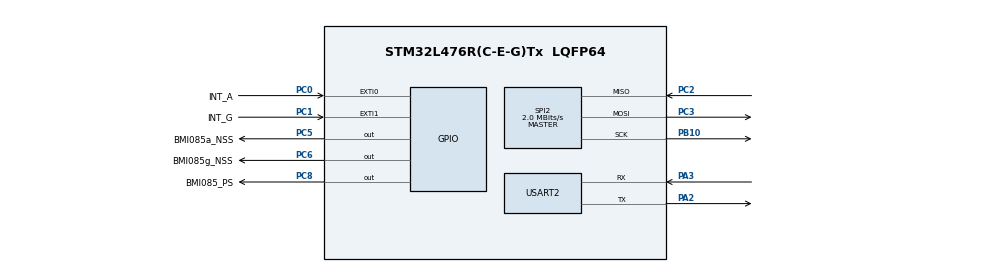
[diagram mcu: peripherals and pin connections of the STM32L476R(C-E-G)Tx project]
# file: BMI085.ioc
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Dma.Request0=SPI2_RX
Dma.Request1=SPI2_TX
Dma.SPI2_RX.0.Direction=DMA_PERIPH_TO_MEMORY
Dma.SPI2_RX.0.Instance=DMA1_Channel4
Dma.SPI2_RX.0.MemDataAlignment=DMA_MDATAALIGN_BYTE
Dma.SPI2_RX.0.MemInc=DMA_MINC_ENABLE
Dma.SPI2_RX.0.Mode=DMA_NORMAL
Dma.SPI2_RX.0.PeriphDataAlignment=DMA_PDATAALIGN_BYTE
Dma.SPI2_RX.0.PeriphInc=DMA_PINC_DISABLE
Dma.SPI2_RX.0.Priority=DMA_PRIORITY_LOW
Dma.SPI2_TX.1.Direction=DMA_MEMORY_TO_PERIPH
Dma.SPI2_TX.1.Instance=DMA1_Channel5
Dma.SPI2_TX.1.MemDataAlignment=DMA_MDATAALIGN_BYTE
Dma.SPI2_TX.1.MemInc=DMA_MINC_ENABLE
Dma.SPI2_TX.1.Mode=DMA_NORMAL
Dma.SPI2_TX.1.PeriphDataAlignment=DMA_PDATAALIGN_BYTE
Dma.SPI2_TX.1.PeriphInc=DMA_PINC_DISABLE
Dma.SPI2_TX.1.Priority=DMA_PRIORITY_LOW
Mcu.Family=STM32L4
Mcu.Name=STM32L476R(C-E-G)Tx
Mcu.Package=LQFP64
NVIC.DMA1_Channel4_IRQn=true\:0\:0\:false\:false\:true\:false\:true\:true
NVIC.DMA1_Channel5_IRQn=true\:0\:0\:false\:false\:true\:false\:true\:true
NVIC.EXTI0_IRQn=true\:0\:0\:false\:false\:true\:true\:true\:true
NVIC.EXTI1_IRQn=true\:0\:0\:false\:false\:true\:true\:true\:true
NVIC.PriorityGroup=NVIC_PRIORITYGROUP_4
PA2.Mode=Asynchronous
PA2.Signal=USART2_TX
PA3.Mode=Asynchronous
PA3.Signal=USART2_RX
PB10.Mode=Full_Duplex_Master
PB10.Signal=SPI2_SCK
PC0.GPIO_Label=INT_A
PC0.GPIO_ModeDefaultEXTI=GPIO_MODE_IT_FALLING
PC0.Signal=GPXTI0
PC1.GPIO_Label=INT_G
PC1.GPIO_ModeDefaultEXTI=GPIO_MODE_IT_FALLING
PC1.Signal=GPXTI1
PC2.Mode=Full_Duplex_Master
PC2.Signal=SPI2_MISO
PC3.Mode=Full_Duplex_Master
PC3.Signal=SPI2_MOSI
PC5.GPIO_Label=BMI085a_NSS
PC5.PinState=GPIO_PIN_SET
PC5.Signal=GPIO_Output
PC6.GPIO_Label=BMI085g_NSS
PC6.PinState=GPIO_PIN_SET
PC6.Signal=GPIO_Output
PC8.GPIO_Label=BMI085_PS
PC8.PinState=GPIO_PIN_SET
PC8.Signal=GPIO_Output
ProjectManager.HeapSize=0x200
ProjectManager.StackSize=0x400
ProjectManager.TargetToolchain=STM32CubeIDE
RCC.HSE_VALUE=8000000
RCC.HSI_VALUE=16000000
RCC.LSE_VALUE=32768
RCC.MSI_VALUE=4000000
RCC.VCOOutputFreq_Value=32000000
SPI2.BaudRatePrescaler=SPI_BAUDRATEPRESCALER_2
SPI2.CalculateBaudRate=2.0 MBits/s
SPI2.DataSize=SPI_DATASIZE_8BIT
SPI2.Direction=SPI_DIRECTION_2LINES
SPI2.Mode=SPI_MODE_MASTER
SPI2.VirtualType=VM_MASTER
TIM2.Period=0xffffffff-1
TIM2.Prescaler=4-1
USART2.VirtualMode-Asynchronous=VM_ASYNC
VP_TIM2_VS_ClockSourceINT.Mode=Internal
board=custom

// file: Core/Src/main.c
/* USER CODE BEGIN Header */
/**
 ******************************************************************************
 * @file           : main.c
 * @brief          : Main program body
 ******************************************************************************
 * @attention
 *
 * Copyright (c) 2022 STMicroelectronics.
 * All rights reserved.
 *
 * This software is licensed under terms that can be found in the LICENSE file
 * in the root directory of this software component.
 * If no LICENSE file comes with this software, it is provided AS-IS.
 *
 ******************************************************************************
 */
/* USER CODE END Header */
#include "main.h"

/* USER CODE BEGIN Includes */
#include <stdio.h>
#include <stdint.h>
#include <stdlib.h>
#include "bmi08x_defs.h"
#include "bmi08x.h"
/* USER CODE END Includes */

/* USER CODE BEGIN PM */

/******************************************************************************/
/*!                       Macro definitions                                   */

#define BMI08X_READ_WRITE_LEN  UINT8_C(46)

/*! BMI085 shuttle id */
#define BMI085_SHUTTLE_ID      UINT16_C(0x46)

/*! BMI088 shuttle id */
#define BMI088_SHUTTLE_ID      UINT16_C(0x66)

/*! Earth's gravity in m/s^2 */
#define GRAVITY_EARTH  (9.80665f)

#define DPS_TO_RPS		(0.01745329251f)
/* USER CODE END PM */

SPI_HandleTypeDef hspi2;
DMA_HandleTypeDef hdma_spi2_rx;
DMA_HandleTypeDef hdma_spi2_tx;

TIM_HandleTypeDef htim2;

UART_HandleTypeDef huart2;

/* USER CODE BEGIN PV */

volatile uint8_t rx_rdy = 1;
volatile uint8_t tx_rdy = 1;

volatile uint8_t accel_rdy = 0;
volatile uint8_t gyro_rdy = 0;

uint8_t * current_reg_data_ptr;
uint32_t current__len = 0;
uint16_t dev_addr;

uint8_t error_status = 0;
/*! @brief This structure containing relevant bmi08x info */
struct bmi08x_dev bmi08xdev;

/*! bmi08x int config */
struct bmi08x_int_cfg int_config;

/*Data Sync configuration object*/
struct bmi08x_data_sync_cfg sync_cfg;

/*! bmi08x accel int config */
struct bmi08x_accel_int_channel_cfg accel_int_config;

/*! bmi08x gyro int config */
struct bmi08x_gyro_int_channel_cfg gyro_int_config;

/*! @brief variable to hold the bmi08x accel data */
struct bmi08x_sensor_data bmi08x_accel;

/*! @brief variable to hold the bmi08x gyro data */
struct bmi08x_sensor_data bmi08x_gyro;

///*! Variable that holds the I2C device address or SPI chip selection for accel */
uint16_t acc_dev_add;
//
///*! Variable that holds the I2C device address or SPI chip selection for gyro */
uint16_t gyro_dev_add;

/* USER CODE END PV */

void SystemClock_Config(void);
static void MX_GPIO_Init(void);
static void MX_DMA_Init(void);
static void MX_SPI2_Init(void);
static void MX_TIM2_Init(void);
static void MX_USART2_UART_Init(void);
/* USER CODE BEGIN PFP */

/*!
 *  @brief Function for reading the sensor's registers through SPI bus.
 *
 *  @param[in] reg_addr     : Register address.
 *  @param[out] reg_data    : Pointer to the data buffer to store the read data.
 *  @param[in] length       : No of bytes to read.
 *  @param[in] intf_ptr     : Interface pointer
 *
 *  @return Status of execution
 *  @retval = BMI08X_INTF_RET_SUCCESS -> Success
 *  @retval != BMI08X_INTF_RET_SUCCESS  -> Failure Info
 *
 */
BMI08X_INTF_RET_TYPE bmi08x_spi_read(uint8_t reg_addr, uint8_t *reg_data,
		uint32_t len, void *intf_ptr);

/*!
 *  @brief Function for writing the sensor's registers through SPI bus.
 *
 *  @param[in] reg_addr     : Register address.
 *  @param[in] reg_data     : Pointer to the data buffer whose data has to be written.
 *  @param[in] length       : No of bytes to write.
 *  @param[in] intf_ptr     : Interface pointer
 *
 *  @return Status of execution
 *  @retval = BMI08X_INTF_RET_SUCCESS -> Success
 *  @retval != BMI08X_INTF_RET_SUCCESS  -> Failure Info
 *
 */
BMI08X_INTF_RET_TYPE bmi08x_spi_write(uint8_t reg_addr, const uint8_t *reg_data,
		uint32_t len, void *intf_ptr);

/*!
 * @brief This function provides the delay for required time (Microsecond) as per the input provided in some of the
 * APIs.
 *
 *  @param[in] period_us    : The required wait time in microsecond.
 *  @param[in] intf_ptr     : Interface pointer
 *
 *  @return void.
 *
 */
void bmi08x_delay_us(uint32_t period, void *intf_ptr);

/*!
 *  @brief Function to select the interface between SPI and I2C.
 *
 *  @param[in] bma      : Structure instance of bmi08x_dev
 *  @param[in] intf     : Interface selection parameter
 *                          For I2C : BMI08X_I2C_INTF
 *                          For SPI : BMI08X_SPI_INTF
 *  @param[in] variant  : Sensor variant parameter
 *                          For BMI085 : BMI085_VARIANT
 *                          For BMI088 : BMI088_VARIANT
 *
 *  @return Status of execution
 *  @retval 0 -> Success
 *  @retval < 0 -> Failure Info
 */
int8_t bmi08x_interface_init(struct bmi08x_dev *bma, uint8_t intf,
		uint8_t variant);

/*!
 *  @brief Prints the execution status of the APIs.
 *
 *  @param[in] api_name : Name of the API whose execution status has to be printed.
 *  @param[in] rslt     : Error code returned by the API whose execution status has to be printed.
 *
 *  @return void.
 */
void bmi08x_error_codes_print_result(const char api_name[], int8_t rslt);

//void bmi08x_coines_deinit(void);

/*********************************************************************/
/* static function declarations */
/*********************************************************************/

/*!
 *  @brief This internal function converts lsb to meter per second squared for 16 bit accelerometer for
 *  range 2G, 4G, 8G or 16G.
 *
 *  @param[in] val       : LSB from each axis.
 *  @param[in] g_range   : Gravity range.
 *  @param[in] bit_width : Resolution for accel.
 *
 *  @return Gravity.
 */
static float lsb_to_mps2(int16_t val, int8_t g_range, uint8_t bit_width);

/*!
 *  @brief This function converts lsb to degree per second for 16 bit gyro at
 *  range 125, 250, 500, 1000 or 2000dps.
 *
 *  @param[in] val       : LSB from each axis.
 *  @param[in] dps       : Degree per second.
 *  @param[in] bit_width : Resolution for gyro.
 *
 *  @return Degree per second.
 */
static float lsb_to_dps(int16_t val, float dps, uint8_t bit_width);

/*!
 * @brief    This internal API is used to initialize the bmi08x sensor with default
 */
static int8_t init_bmi08x(void);

/* USER CODE END PFP */

/* USER CODE BEGIN 0 */

#ifdef __GNUC__
#define PUTCHAR_PROTOTYPE int __io_putchar(int ch)
#else
#define PUTCHAR_PROTOTYPE int fputc(int ch, FILE *f)
#endif

PUTCHAR_PROTOTYPE {
	HAL_UART_Transmit(&huart2, (uint8_t*) &ch, 1, HAL_MAX_DELAY);
	return ch;
}
/*********************************************************************/
/* functions */
/*********************************************************************/

/*!
 *  @brief This internal API is used to initializes the bmi08x sensor
 *  settings like power mode and OSRS settings.
 *
 *  @param[in] void
 *
 *  @return void
 *
 */
static int8_t init_bmi08x(void) {
	int8_t rslt;

	rslt = bmi08a_init(&bmi08xdev);
	bmi08x_error_codes_print_result("bmi08a_init", rslt);

	if (rslt == BMI08X_OK) {
		rslt = bmi08g_init(&bmi08xdev);
		bmi08x_error_codes_print_result("bmi08g_init", rslt);
	}

//    if (rslt == BMI08X_OK)
//    {
//        printf("Uploading config file !\n");
//        rslt = bmi08a_load_config_file(&bmi08xdev);
//        bmi08x_error_codes_print_result("bmi08a_load_config_file", rslt);
//    }

	if (rslt == BMI08X_OK) {
		bmi08xdev.accel_cfg.odr = BMI08X_ACCEL_ODR_1600_HZ;

		if (bmi08xdev.variant == BMI085_VARIANT) {
			bmi08xdev.accel_cfg.range = BMI085_ACCEL_RANGE_16G;
		} else if (bmi08xdev.variant == BMI088_VARIANT) {
			bmi08xdev.accel_cfg.range = BMI088_ACCEL_RANGE_24G;
		}

		bmi08xdev.accel_cfg.power = BMI08X_ACCEL_PM_ACTIVE; /*user_accel_power_modes[user_bmi088_accel_low_power]; */
		bmi08xdev.accel_cfg.bw = BMI08X_ACCEL_BW_NORMAL; /* Bandwidth and OSR are same */

		rslt = bmi08a_set_power_mode(&bmi08xdev);
		bmi08x_error_codes_print_result("bmi08a_set_power_mode", rslt);

		rslt = bmi08a_set_meas_conf(&bmi08xdev);
		bmi08x_error_codes_print_result("bmi08a_set_meas_conf", rslt);

		bmi08xdev.gyro_cfg.odr = BMI08X_GYRO_BW_230_ODR_2000_HZ;
		bmi08xdev.gyro_cfg.range = BMI08X_GYRO_RANGE_125_DPS;
		bmi08xdev.gyro_cfg.bw = BMI08X_GYRO_BW_230_ODR_2000_HZ;
		bmi08xdev.gyro_cfg.power = BMI08X_GYRO_PM_NORMAL;

		rslt = bmi08g_set_power_mode(&bmi08xdev);
		bmi08x_error_codes_print_result("bmi08g_set_power_mode", rslt);

		rslt = bmi08g_set_meas_conf(&bmi08xdev);
		bmi08x_error_codes_print_result("bmi08g_set_meas_conf", rslt);
	}

	return rslt;

}

/*!
 *  @brief This API is used to enable bmi08x interrupt
 *
 *  @param[in] void
 *
 *  @return void
 *
 */
static int8_t enable_bmi08x_interrupt() {
	int8_t rslt;
	uint8_t data = 0;

	/* Set accel interrupt pin configuration */
	accel_int_config.int_channel = BMI08X_INT_CHANNEL_1;
	accel_int_config.int_type = BMI08X_ACCEL_INT_DATA_RDY;
	accel_int_config.int_pin_cfg.output_mode = BMI08X_INT_MODE_PUSH_PULL;
	accel_int_config.int_pin_cfg.lvl = BMI08X_INT_ACTIVE_HIGH;
	accel_int_config.int_pin_cfg.enable_int_pin = BMI08X_ENABLE;

	/* Enable accel data ready interrupt channel */
	rslt = bmi08a_set_int_config(
			(const struct bmi08x_accel_int_channel_cfg*) &accel_int_config,
			&bmi08xdev);
	bmi08x_error_codes_print_result("bmi08a_set_int_config", rslt);

	if (rslt == BMI08X_OK) {
		/* Set gyro interrupt pin configuration */
		gyro_int_config.int_channel = BMI08X_INT_CHANNEL_3;
		gyro_int_config.int_type = BMI08X_GYRO_INT_DATA_RDY;
		gyro_int_config.int_pin_cfg.output_mode = BMI08X_INT_MODE_PUSH_PULL;
		gyro_int_config.int_pin_cfg.lvl = BMI08X_INT_ACTIVE_HIGH;
		gyro_int_config.int_pin_cfg.enable_int_pin = BMI08X_ENABLE;

		/* Enable gyro data ready interrupt channel */
		rslt = bmi08g_set_int_config(
				(const struct bmi08x_gyro_int_channel_cfg*) &gyro_int_config,
				&bmi08xdev);
		bmi08x_error_codes_print_result("bmi08g_set_int_config", rslt);

		rslt = bmi08g_get_regs(BMI08X_REG_GYRO_INT3_INT4_IO_MAP, &data, 1,
				&bmi08xdev);
		bmi08x_error_codes_print_result("bmi08g_get_regs", rslt);
	}

	return rslt;
}

/*!
 *  @brief This API is used to disable bmi08x interrupt
 *
 *  @param[in] void
 *
 *  @return void
 *
 */
static int8_t disable_bmi08x_interrupt() {
	int8_t rslt;

	/* Set accel interrupt pin configuration */
	accel_int_config.int_channel = BMI08X_INT_CHANNEL_1;
	accel_int_config.int_type = BMI08X_ACCEL_INT_DATA_RDY;
	accel_int_config.int_pin_cfg.output_mode = BMI08X_INT_MODE_PUSH_PULL;
	accel_int_config.int_pin_cfg.lvl = BMI08X_INT_ACTIVE_HIGH;
	accel_int_config.int_pin_cfg.enable_int_pin = BMI08X_DISABLE;

	/* Disable accel data ready interrupt channel */
	rslt = bmi08a_set_int_config(
			(const struct bmi08x_accel_int_channel_cfg*) &accel_int_config,
			&bmi08xdev);
	bmi08x_error_codes_print_result("bmi08a_set_int_config", rslt);

	if (rslt == BMI08X_OK) {
		/* Set gyro interrupt pin configuration */
		gyro_int_config.int_channel = BMI08X_INT_CHANNEL_3;
		gyro_int_config.int_type = BMI08X_GYRO_INT_DATA_RDY;
		gyro_int_config.int_pin_cfg.output_mode = BMI08X_INT_MODE_PUSH_PULL;
		gyro_int_config.int_pin_cfg.lvl = BMI08X_INT_ACTIVE_HIGH;
		gyro_int_config.int_pin_cfg.enable_int_pin = BMI08X_DISABLE;

		/* Disable gyro data ready interrupt channel */
		rslt = bmi08g_set_int_config(
				(const struct bmi08x_gyro_int_channel_cfg*) &gyro_int_config,
				&bmi08xdev);
		bmi08x_error_codes_print_result("bmi08g_set_int_config", rslt);
	}

	return rslt;
}

/*!
 * @brief This function converts lsb to meter per second squared for 16 bit accelerometer at
 * range 2G, 4G, 8G or 16G.
 */
static float lsb_to_mps2(int16_t val, int8_t g_range, uint8_t bit_width) {
	float gravity;

	float half_scale = ((1 << bit_width) / 2.0f);

	gravity = (float) ((GRAVITY_EARTH * val * g_range) / half_scale);

	return gravity;
}

/*!
 * @brief This function converts lsb to degree per second for 16 bit gyro at
 * range 125, 250, 500, 1000 or 2000dps.
 */
static float lsb_to_dps(int16_t val, float dps, uint8_t bit_width)
{
    double power = 2;

    float half_scale = (float)((pow((double)power, (double)bit_width) / 2.0f));

    return (dps / (half_scale)) * (val);
}
/* USER CODE END 0 */

int main(void)
{

  /* MCU Configuration--------------------------------------------------------*/

  /* Reset of all peripherals, Initializes the Flash interface and the Systick. */
  HAL_Init();

  /* Configure the system clock */
  SystemClock_Config();

  /* Initialize all configured peripherals */
  MX_GPIO_Init();
  MX_DMA_Init();
  MX_SPI2_Init();
  MX_TIM2_Init();
  MX_USART2_UART_Init();
  /* USER CODE BEGIN 2 */

	int8_t rslt;

	uint8_t times_to_read = 0;
	float x = 0.0, y = 0.0, z = 0.0;
	uint8_t status = 0;

//	struct bmi08x_sensor_data bmi08x_accel_pos;
//	struct bmi08x_sensor_data bmi08x_accel_neg;

	struct bmi08x_err_reg error;
	/* Interface given as parameter
	 *           For I2C : BMI08X_I2C_INTF
	 *           For SPI : BMI08X_SPI_INTF
	 * Sensor variant given as parameter
	 *          For BMI085 : BMI085_VARIANT
	 *          For BMI088 : BMI088_VARIANT
	 */

	HAL_TIM_Base_Start(&htim2);

	printf("Hello World! \r\n");
	rslt = bmi08x_interface_init(&bmi08xdev, BMI08X_SPI_INTF, BMI088_VARIANT);

	bmi08x_error_codes_print_result("bmi08x_interface_init", rslt);

	if (rslt == BMI08X_OK) {

		rslt = init_bmi08x();
		bmi08x_error_codes_print_result("init_bmi08x", rslt);
		printf("Initialized :3 \r\n");

//		/* Enable data ready interrupts */
		if (rslt == BMI08X_OK) {
			rslt = enable_bmi08x_interrupt();
			bmi08x_error_codes_print_result("enable_bmi08x_interrupt", rslt);
		}

		if (rslt == BMI08X_OK) {
			printf(
					"ODR : %d  BW : %d   RANGE : %d \r\n",
					bmi08xdev.accel_cfg.odr, bmi08xdev.accel_cfg.bw, bmi08xdev.accel_cfg.range);
			rslt = bmi08g_get_meas_conf(&bmi08xdev);
			bmi08x_error_codes_print_result("bmi08g_get_meas_conf", rslt);
			printf(
					"ODR : %d  BW : %d   RANGE : %d \r\n",
					bmi08xdev.accel_cfg.odr, bmi08xdev.accel_cfg.bw, bmi08xdev.accel_cfg.range);
		}
		while (1) {

			if (accel_rdy) {
				rslt = bmi08a_get_data(&bmi08x_accel, &bmi08xdev);
				bmi08x_error_codes_print_result("bmi08a_get_data", rslt);
				accel_rdy = 0;
				printf(
						"ACCEL Acc_Raw_X : %d  Acc_Raw_Y : %d   Acc_Raw_Z : %d ",
						 bmi08x_accel.x, bmi08x_accel.y,
						bmi08x_accel.z);

				if (bmi08xdev.variant == BMI085_VARIANT) {
					/* Converting lsb to meter per second squared for 16 bit accelerometer at 16G range. */
					x = lsb_to_mps2(bmi08x_accel.x, 16, 16);
					y = lsb_to_mps2(bmi08x_accel.y, 16, 16);
					z = lsb_to_mps2(bmi08x_accel.z, 16, 16);
				} else if (bmi08xdev.variant == BMI088_VARIANT) {
					/* Converting lsb to meter per second squared for 16 bit accelerometer at 24G range. */
					x = lsb_to_mps2(bmi08x_accel.x, 24, 16);
					y = lsb_to_mps2(bmi08x_accel.y, 24, 16);
					z = lsb_to_mps2(bmi08x_accel.z, 24, 16);
				}

				/* Print the data in m/s2. */
				printf(
						"\t  Acc_ms2_X = %4.2f,  Acc_ms2_Y = %4.2f,  Acc_ms2_Z = %4.2f\n\r",
						x, y, z);

			}
			if (gyro_rdy) {
				rslt = bmi08g_get_data(&bmi08x_gyro, &bmi08xdev);
				bmi08x_error_codes_print_result("bmi08g_get_data",
						rslt);
				gyro_rdy = 0;
				printf(
						"GYRO  Gyr_Raw_X : %d   Gyr_Raw_Y : %d   Gyr_Raw_Z : %d   ",
						 bmi08x_gyro.x, bmi08x_gyro.y,
						bmi08x_gyro.z);

				/* Converting lsb to degree per second for 16 bit gyro at 250 dps range. */
				x = lsb_to_dps(bmi08x_gyro.x, 250, 16) * DPS_TO_RPS;
				y = lsb_to_dps(bmi08x_gyro.y, 250, 16) * DPS_TO_RPS;
				z = lsb_to_dps(bmi08x_gyro.z, 250, 16) * DPS_TO_RPS;

				/* Print the data in rps. */
				printf("\t  Gyr_DPS_X = %4.2f  , Gyr_DPS_Y = %4.2f  , Gyr_DPS_Z = %4.2f\n\r",
						x, y, z);

			}

		}
	}

	return 0;
}

void SystemClock_Config(void)
{
  RCC_OscInitTypeDef RCC_OscInitStruct = {0};
  RCC_ClkInitTypeDef RCC_ClkInitStruct = {0};

  /** Configure the main internal regulator output voltage
  */
  if (HAL_PWREx_ControlVoltageScaling(PWR_REGULATOR_VOLTAGE_SCALE1) != HAL_OK)
  {
    Error_Handler();
  }

  /** Initializes the RCC Oscillators according to the specified parameters
  * in the RCC_OscInitTypeDef structure.
  */
  RCC_OscInitStruct.OscillatorType = RCC_OSCILLATORTYPE_MSI;
  RCC_OscInitStruct.MSIState = RCC_MSI_ON;
  RCC_OscInitStruct.MSICalibrationValue = 0;
  RCC_OscInitStruct.MSIClockRange = RCC_MSIRANGE_6;
  RCC_OscInitStruct.PLL.PLLState = RCC_PLL_NONE;
  if (HAL_RCC_OscConfig(&RCC_OscInitStruct) != HAL_OK)
  {
    Error_Handler();
  }

  /** Initializes the CPU, AHB and APB buses clocks
  */
  RCC_ClkInitStruct.ClockType = RCC_CLOCKTYPE_HCLK|RCC_CLOCKTYPE_SYSCLK
                              |RCC_CLOCKTYPE_PCLK1|RCC_CLOCKTYPE_PCLK2;
  RCC_ClkInitStruct.SYSCLKSource = RCC_SYSCLKSOURCE_MSI;
  RCC_ClkInitStruct.AHBCLKDivider = RCC_SYSCLK_DIV1;
  RCC_ClkInitStruct.APB1CLKDivider = RCC_HCLK_DIV1;
  RCC_ClkInitStruct.APB2CLKDivider = RCC_HCLK_DIV1;

  if (HAL_RCC_ClockConfig(&RCC_ClkInitStruct, FLASH_LATENCY_0) != HAL_OK)
  {
    Error_Handler();
  }
}

static void MX_SPI2_Init(void)
{

  /* SPI2 parameter configuration*/
  hspi2.Instance = SPI2;
  hspi2.Init.Mode = SPI_MODE_MASTER;
  hspi2.Init.Direction = SPI_DIRECTION_2LINES;
  hspi2.Init.DataSize = SPI_DATASIZE_8BIT;
  hspi2.Init.CLKPolarity = SPI_POLARITY_LOW;
  hspi2.Init.CLKPhase = SPI_PHASE_1EDGE;
  hspi2.Init.NSS = SPI_NSS_SOFT;
  hspi2.Init.BaudRatePrescaler = SPI_BAUDRATEPRESCALER_2;
  hspi2.Init.FirstBit = SPI_FIRSTBIT_MSB;
  hspi2.Init.TIMode = SPI_TIMODE_DISABLE;
  hspi2.Init.CRCCalculation = SPI_CRCCALCULATION_DISABLE;
  hspi2.Init.CRCPolynomial = 7;
  hspi2.Init.CRCLength = SPI_CRC_LENGTH_DATASIZE;
  hspi2.Init.NSSPMode = SPI_NSS_PULSE_ENABLE;
  if (HAL_SPI_Init(&hspi2) != HAL_OK)
  {
    Error_Handler();
  }

}

static void MX_TIM2_Init(void)
{

  TIM_ClockConfigTypeDef sClockSourceConfig = {0};
  TIM_MasterConfigTypeDef sMasterConfig = {0};

  htim2.Instance = TIM2;
  htim2.Init.Prescaler = 4-1;
  htim2.Init.CounterMode = TIM_COUNTERMODE_UP;
  htim2.Init.Period = 0xffffffff-1;
  htim2.Init.ClockDivision = TIM_CLOCKDIVISION_DIV1;
  htim2.Init.AutoReloadPreload = TIM_AUTORELOAD_PRELOAD_DISABLE;
  if (HAL_TIM_Base_Init(&htim2) != HAL_OK)
  {
    Error_Handler();
  }
  sClockSourceConfig.ClockSource = TIM_CLOCKSOURCE_INTERNAL;
  if (HAL_TIM_ConfigClockSource(&htim2, &sClockSourceConfig) != HAL_OK)
  {
    Error_Handler();
  }
  sMasterConfig.MasterOutputTrigger = TIM_TRGO_RESET;
  sMasterConfig.MasterSlaveMode = TIM_MASTERSLAVEMODE_DISABLE;
  if (HAL_TIMEx_MasterConfigSynchronization(&htim2, &sMasterConfig) != HAL_OK)
  {
    Error_Handler();
  }

}

static void MX_USART2_UART_Init(void)
{

  huart2.Instance = USART2;
  huart2.Init.BaudRate = 115200;
  huart2.Init.WordLength = UART_WORDLENGTH_8B;
  huart2.Init.StopBits = UART_STOPBITS_1;
  huart2.Init.Parity = UART_PARITY_NONE;
  huart2.Init.Mode = UART_MODE_TX_RX;
  huart2.Init.HwFlowCtl = UART_HWCONTROL_NONE;
  huart2.Init.OverSampling = UART_OVERSAMPLING_16;
  huart2.Init.OneBitSampling = UART_ONE_BIT_SAMPLE_DISABLE;
  huart2.AdvancedInit.AdvFeatureInit = UART_ADVFEATURE_NO_INIT;
  if (HAL_UART_Init(&huart2) != HAL_OK)
  {
    Error_Handler();
  }

}

static void MX_DMA_Init(void)
{

  /* DMA controller clock enable */
  __HAL_RCC_DMA1_CLK_ENABLE();

  /* DMA interrupt init */
  /* DMA1_Channel4_IRQn interrupt configuration */
  HAL_NVIC_SetPriority(DMA1_Channel4_IRQn, 0, 0);
  HAL_NVIC_EnableIRQ(DMA1_Channel4_IRQn);
  /* DMA1_Channel5_IRQn interrupt configuration */
  HAL_NVIC_SetPriority(DMA1_Channel5_IRQn, 0, 0);
  HAL_NVIC_EnableIRQ(DMA1_Channel5_IRQn);

}

static void MX_GPIO_Init(void)
{
  GPIO_InitTypeDef GPIO_InitStruct = {0};

  /* GPIO Ports Clock Enable */
  __HAL_RCC_GPIOC_CLK_ENABLE();
  __HAL_RCC_GPIOA_CLK_ENABLE();
  __HAL_RCC_GPIOB_CLK_ENABLE();

  /*Configure GPIO pin Output Level */
  HAL_GPIO_WritePin(GPIOC, BMI085a_NSS_Pin|BMI085g_NSS_Pin|BMI085_PS_Pin, GPIO_PIN_SET);

  /*Configure GPIO pins : INT_A_Pin INT_G_Pin */
  GPIO_InitStruct.Pin = INT_A_Pin|INT_G_Pin;
  GPIO_InitStruct.Mode = GPIO_MODE_IT_FALLING;
  GPIO_InitStruct.Pull = GPIO_NOPULL;
  HAL_GPIO_Init(GPIOC, &GPIO_InitStruct);

  /*Configure GPIO pins : BMI085a_NSS_Pin BMI085g_NSS_Pin BMI085_PS_Pin */
  GPIO_InitStruct.Pin = BMI085a_NSS_Pin|BMI085g_NSS_Pin|BMI085_PS_Pin;
  GPIO_InitStruct.Mode = GPIO_MODE_OUTPUT_PP;
  GPIO_InitStruct.Pull = GPIO_NOPULL;
  GPIO_InitStruct.Speed = GPIO_SPEED_FREQ_LOW;
  HAL_GPIO_Init(GPIOC, &GPIO_InitStruct);

  /* EXTI interrupt init*/
  HAL_NVIC_SetPriority(EXTI0_IRQn, 0, 0);
  HAL_NVIC_EnableIRQ(EXTI0_IRQn);

  HAL_NVIC_SetPriority(EXTI1_IRQn, 0, 0);
  HAL_NVIC_EnableIRQ(EXTI1_IRQn);

}

/* USER CODE BEGIN 4 */

// These functions are the only ones that really need to be implemented
BMI08X_INTF_RET_TYPE bmi08x_spi_read(uint8_t reg_addr, uint8_t *reg_data,
		uint32_t len, void *intf_ptr) {

	dev_addr = *(uint16_t*) intf_ptr;
//	uint16_t tx = (reg_addr) << 8;

	HAL_GPIO_WritePin(GPIOC, dev_addr, GPIO_PIN_RESET);
	while(!(tx_rdy && rx_rdy));
	tx_rdy = 0;
//	rx_rdy = 0;

	if (HAL_SPI_Transmit_DMA(&hspi2, &reg_addr, sizeof(reg_addr)) != HAL_OK) {
		return 1;
	}

//	tx_rdy = 0;
	while(!(tx_rdy));
	rx_rdy = 0;
	if (HAL_SPI_Receive_DMA(&hspi2, reg_data, len) != HAL_OK) {
			return 1;
	}
//
//	tx_rdy = 0;
	while(!(rx_rdy));
	HAL_GPIO_WritePin(GPIOC, dev_addr, GPIO_PIN_SET);
//	bmi08x_delay_us(200, 0);
	return 0;
}

BMI08X_INTF_RET_TYPE bmi08x_spi_write(uint8_t reg_addr, const uint8_t *reg_data,
		uint32_t len, void *intf_ptr) {

	dev_addr = *(uint16_t*) intf_ptr;

	HAL_GPIO_WritePin(GPIOC, dev_addr, GPIO_PIN_RESET);

	while(!(tx_rdy && rx_rdy) );
	tx_rdy = 0;
//	rx_rdy = 0;

	if (HAL_SPI_Transmit_DMA(&hspi2, &reg_addr, sizeof(reg_addr)) != HAL_OK) {
		return 1;
	}

//	rx_rdy = 0;
//	tx_rdy = 0;
	while(!tx_rdy);
	tx_rdy = 0;
	if (HAL_SPI_Transmit_DMA(&hspi2,  reg_data, len) != HAL_OK) {
			return 1;
	}
//
//	tx_rdy = 0;
	while(!tx_rdy);
	HAL_GPIO_WritePin(GPIOC, dev_addr, GPIO_PIN_SET);
	return 0;
}

/*!
 * Set up with a timer
 */
void bmi08x_delay_us(uint32_t period, void *intf_ptr) {
//    coines_delay_usec(period);
	__HAL_TIM_SET_COUNTER(&htim2, 0);  // set the counter value a 0
	while (__HAL_TIM_GET_COUNTER(&htim2) < period)
		;  // wait for the counter to reach the us input in the parameter
}

/*!
 *  @brief Function to select the interface between SPI and I2C.
 *  Also to initialize coines platform
 */
int8_t bmi08x_interface_init(struct bmi08x_dev *bmi08x, uint8_t intf,
		uint8_t variant) {
	int8_t rslt = BMI08X_OK;
//    struct coines_board_info board_info;

	if (bmi08x != NULL) {
//        int16_t result = coines_open_comm_intf(COINES_COMM_INTF_USB);
//        if (result < COINES_SUCCESS)
//        {
//            printf(
//                "\n Unable to connect with Application Board ! \n" " 1. Check if the board is connected and powered on. \n" " 2. Check if Application Board USB driver is installed. \n"
//                " 3. Check if board is in use by another application. (Insufficient permissions to access USB) \n");
//            exit(result);
//        }
//
//        result = coines_get_board_info(&board_info);
		/* Bus configuration : SPI */
		// BMI085a_NSS_Pin|BMI085g_NSS_Pin|BMI085_PS_Pin
		if (intf == BMI08X_SPI_INTF) {
//            printf("SPI Interface \n");

			/* To initialize the user SPI function */
			bmi08x->intf = BMI08X_SPI_INTF;
			bmi08x->read = bmi08x_spi_read;
			bmi08x->write = bmi08x_spi_write;

			/* SPI chip select pin for Accel (CSB1_A) */
			acc_dev_add = BMI085a_NSS_Pin;

			/* SPI chip select pin for Gyro (CSB2_G) */
			gyro_dev_add = BMI085g_NSS_Pin;

		}

		/* Selection of bmi085 or bmi088 sensor variant */
		bmi08x->variant = variant;

		/* Assign accel device address to accel interface pointer */
		bmi08x->intf_ptr_accel = &acc_dev_add;

		/* Assign gyro device address to gyro interface pointer */
		bmi08x->intf_ptr_gyro = &gyro_dev_add;

		/* Configure delay in microseconds */
		bmi08x->delay_us = bmi08x_delay_us;

		/* Configure max read/write length (in bytes) ( Supported length depends on target machine) */
		bmi08x->read_write_len = 32;

	} else {
		rslt = BMI08X_E_NULL_PTR;
	}

	return rslt;

}

/*!
 *  @brief Prints the execution status of the APIs.
 */
void bmi08x_error_codes_print_result(const char api_name[], int8_t rslt) {
	if (rslt != BMI08X_OK) {
		printf("%s\t", api_name);
		if (rslt == BMI08X_E_NULL_PTR) {
			printf("Error [%d] : Null pointer\r\n", rslt);
		} else if (rslt == BMI08X_E_COM_FAIL) {
			printf("Error [%d] : Communication failure\r\n", rslt);
		} else if (rslt == BMI08X_E_DEV_NOT_FOUND) {
			printf("Error [%d] : Device not found\r\n", rslt);
		} else if (rslt == BMI08X_E_OUT_OF_RANGE) {
			printf("Error [%d] : Out of Range\r\n", rslt);
		} else if (rslt == BMI08X_E_INVALID_INPUT) {
			printf("Error [%d] : Invalid input\r\n", rslt);
		} else if (rslt == BMI08X_E_CONFIG_STREAM_ERROR) {
			printf("Error [%d] : Config stream error\r\n", rslt);
		} else if (rslt == BMI08X_E_RD_WR_LENGTH_INVALID) {
			printf("Error [%d] : Invalid Read write length\r\n", rslt);
		} else if (rslt == BMI08X_E_INVALID_CONFIG) {
			printf("Error [%d] : Invalid config\r\n", rslt);
		} else if (rslt == BMI08X_E_FEATURE_NOT_SUPPORTED) {
			printf("Error [%d] : Feature not supported\r\n", rslt);
		} else if (rslt == BMI08X_W_FIFO_EMPTY) {
			printf("Warning [%d] : FIFO empty\r\n", rslt);
		} else {
			printf("Error [%d] : Unknown error code\r\n", rslt);
		}
	}
}

void HAL_SPI_RxCpltCallback(SPI_HandleTypeDef * hspi) { // Message received .. Do Something ...
	rx_rdy = 1;
}

void HAL_SPI_TxCpltCallback(SPI_HandleTypeDef * hspi) { // Message received .. Do Something ...
	tx_rdy = 1;
}
void HAL_SPI_TxRxCpltCallback(SPI_HandleTypeDef * hspi) { // Message received .. Do Something ...
	if(hspi->State == HAL_SPI_STATE_READY){

		tx_rdy = 1;
		rx_rdy = 1;
	}
}
void HAL_GPIO_EXTI_Callback(uint16_t GPIO_Pin)
{
    if(GPIO_Pin == INT_A_Pin) // If The INT Source Is EXTI Line9 (A9 Pin)
    {
    	accel_rdy = 1; // Toggle The Output (LED) Pin
    }
    if(GPIO_Pin == INT_G_Pin) // If The INT Source Is EXTI Line9 (A9 Pin)
	{
		gyro_rdy = 1; // Toggle The Output (LED) Pin
	}
}
/* USER CODE END 4 */

void Error_Handler(void)
{
	__disable_irq();
	while (1) {
	}
}
